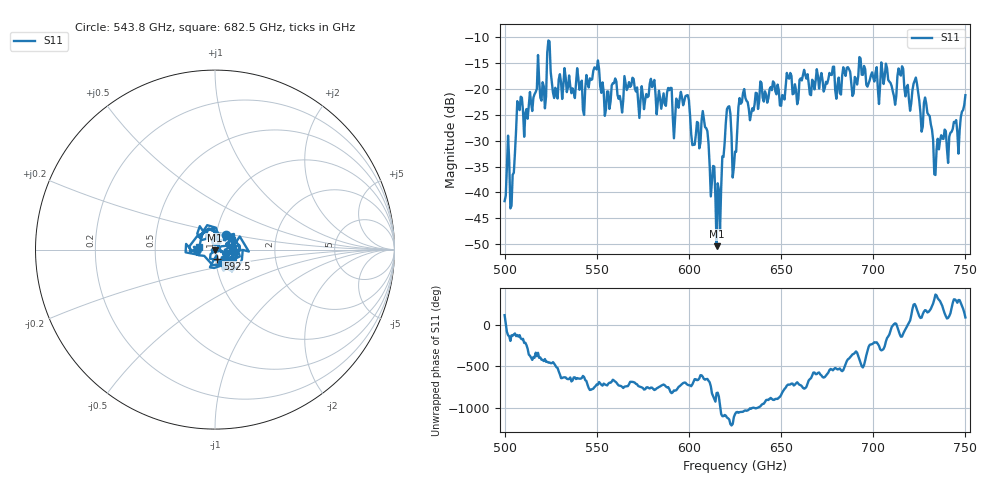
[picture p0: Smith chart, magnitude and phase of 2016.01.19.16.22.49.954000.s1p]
!Created with skrf (http://scikit-rf.org).
# GHz S RI R 50.0
!freq ReS11 ImS11
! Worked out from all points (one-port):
!   401 points, 500 GHz to 750 GHz, reference 50 ohm
!   lowest |S11| = -50.4 dB at 615 GHz (marker M1), VSWR 1.01, Z = 49.9 - j0.292 ohm
!   |S11| at or under -10 dB: start of sweep to end of sweep
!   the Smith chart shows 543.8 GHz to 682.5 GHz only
!   S11 on the Smith chart (normalised r, x): 543.8 GHz: 1.12, +0.18; 592.5 GHz: 1.02, -0.10; 682.5 GHz: 0.84, +0.03
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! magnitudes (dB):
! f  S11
! 500 GHz  -41.7
! 504.4 GHz  -36.6
! 508.1 GHz  -24.1
! 521.2 GHz  -19.5
! 524.4 GHz  -10.8
! 527.5 GHz  -19.8
! 531.2 GHz  -21.9
! 543.8 GHz  -19.9
! 550 GHz  -16.2
! 562.5 GHz  -21.3
! 580 GHz  -19.6
! 592.5 GHz  -25.7
! 593.8 GHz  -22.4
! 598.8 GHz  -21.2
! 602.5 GHz  -30.8
! 608.8 GHz  -27.4
! 615 GHz  -50.4
! 616.2 GHz  -39.5
! 621.2 GHz  -23.5
! 625 GHz  -32.1
! 628.8 GHz  -22.5
! 656.2 GHz  -21.0
! 682.5 GHz  -21.1
! 687.5 GHz  -16.7
! 718.8 GHz  -19.2
! 723.1 GHz  -17.8
! 734.4 GHz  -31.6
! 750 GHz  -21.2
